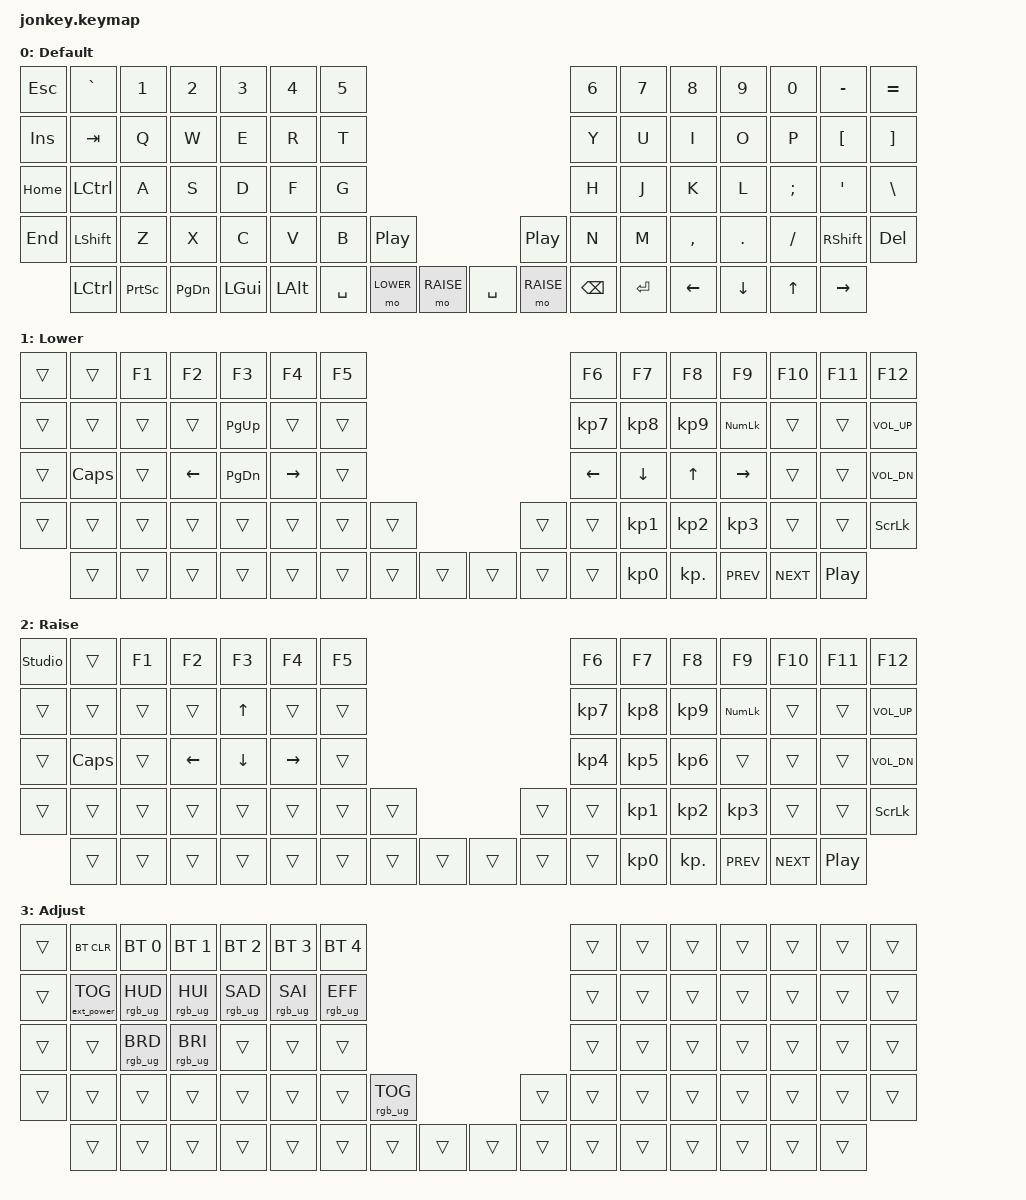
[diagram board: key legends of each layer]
/*
 * Copyright (c) 2020 The ZMK Contributors
 * SPDX-License-Identifier: MIT
 */

#include <behaviors.dtsi>
#include <dt-bindings/zmk/keys.h>
#include <dt-bindings/zmk/bt.h>
#include <dt-bindings/zmk/rgb.h>
#include <dt-bindings/zmk/ext_power.h>

#define BASE   0
#define LOWER  1
#define RAISE  2
#define ADJUST 3

/ {
    conditional_layers {
        compatible = "zmk,conditional-layers";
        adjust_layer {
            if-layers = <LOWER RAISE>;
            then-layer = <ADJUST>;
        };
    };

    keymap {
        compatible = "zmk,keymap";

        default_layer {
            display-name = "Default";
            bindings = <
&kp ESC   &kp GRAVE &kp N1 &kp N2   &kp N3   &kp N4    &kp N5                           &kp N6 &kp N7    &kp N8    &kp N9   &kp N0   &kp MINUS &kp EQUAL
&kp INS   &kp TAB   &kp Q  &kp W    &kp E    &kp R     &kp T                            &kp Y  &kp U     &kp I     &kp O    &kp P    &kp LBKT  &kp RBKT
&kp HOME  &kp LCTRL &kp A  &kp S    &kp D    &kp F     &kp G                            &kp H  &kp J     &kp K     &kp L    &kp SEMI &kp SQT   &kp BSLH
&kp END   &kp LSHFT &kp Z  &kp X    &kp C    &kp V     &kp B      &kp C_PP     &kp C_PP &kp N  &kp M     &kp COMMA &kp DOT  &kp FSLH &kp RSHFT &kp DEL
&kp LCTRL &kp PSCRN &kp PG_DN &kp LGUI &kp LALT &kp SPACE &mo LOWER &mo RAISE  &kp SPACE &mo RAISE &kp BSPC &kp RET &kp LEFT &kp DOWN &kp UP    &kp RIGHT
            >;
        };

        lower_layer {
            display-name = "Lower";
            bindings = <
&trans &trans    &kp F1    &kp F2    &kp F3     &kp F4    &kp F5                    &kp F6    &kp F7    &kp F8    &kp F9     &kp F10   &kp F11   &kp F12
&trans &trans    &trans    &trans    &kp PG_UP  &trans    &trans                    &kp KP_N7 &kp KP_N8 &kp KP_N9 &kp KP_NUM &trans    &trans    &kp C_VOL_UP
&trans &kp CLCK  &trans    &kp LEFT  &kp PG_DN  &kp RIGHT &trans                    &kp LEFT  &kp DOWN  &kp UP    &kp RIGHT  &trans    &trans    &kp C_VOL_DN
&trans &trans    &trans    &trans    &trans     &trans    &trans    &trans  &trans  &trans    &kp KP_N1 &kp KP_N2 &kp KP_N3  &trans    &trans    &kp SLCK
&trans &trans    &trans    &trans    &trans     &trans    &trans    &trans  &trans  &trans    &trans    &kp KP_N0 &kp KP_DOT &kp C_PREV &kp C_NEXT &kp C_PP
            >;
        };

        raise_layer {
            display-name = "Raise";
            bindings = <
&studio_unlock &trans    &kp F1    &kp F2    &kp F3     &kp F4    &kp F5                    &kp F6    &kp F7    &kp F8    &kp F9     &kp F10   &kp F11   &kp F12
&trans &trans    &trans    &trans    &kp UP     &trans    &trans                    &kp KP_N7 &kp KP_N8 &kp KP_N9 &kp KP_NUM &trans    &trans    &kp C_VOL_UP
&trans &kp CLCK  &trans    &kp LEFT  &kp DOWN   &kp RIGHT &trans                    &kp KP_N4 &kp KP_N5 &kp KP_N6 &trans     &trans    &trans    &kp C_VOL_DN
&trans &trans    &trans    &trans    &trans     &trans    &trans    &trans  &trans  &trans    &kp KP_N1 &kp KP_N2 &kp KP_N3  &trans    &trans    &kp SLCK
&trans &trans    &trans    &trans    &trans     &trans    &trans    &trans  &trans  &trans    &trans    &kp KP_N0 &kp KP_DOT &kp C_PREV &kp C_NEXT &kp C_PP
            >;
        };

        adjust_layer {
            display-name = "Adjust";
            bindings = <
&trans &bt BT_CLR        &bt BT_SEL 0    &bt BT_SEL 1    &bt BT_SEL 2    &bt BT_SEL 3    &bt BT_SEL 4                            &trans &trans &trans &trans &trans &trans &trans
&trans &ext_power EP_TOG &rgb_ug RGB_HUD &rgb_ug RGB_HUI &rgb_ug RGB_SAD &rgb_ug RGB_SAI &rgb_ug RGB_EFF                         &trans &trans &trans &trans &trans &trans &trans
&trans &trans            &rgb_ug RGB_BRD &rgb_ug RGB_BRI &trans          &trans          &trans                                  &trans &trans &trans &trans &trans &trans &trans
&trans &trans            &trans          &trans          &trans          &trans          &trans            &rgb_ug RGB_TOG &trans &trans &trans &trans &trans &trans &trans &trans
&trans &trans            &trans          &trans          &trans          &trans          &trans            &trans          &trans &trans &trans &trans &trans &trans &trans &trans
            >;
        };
    };
};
